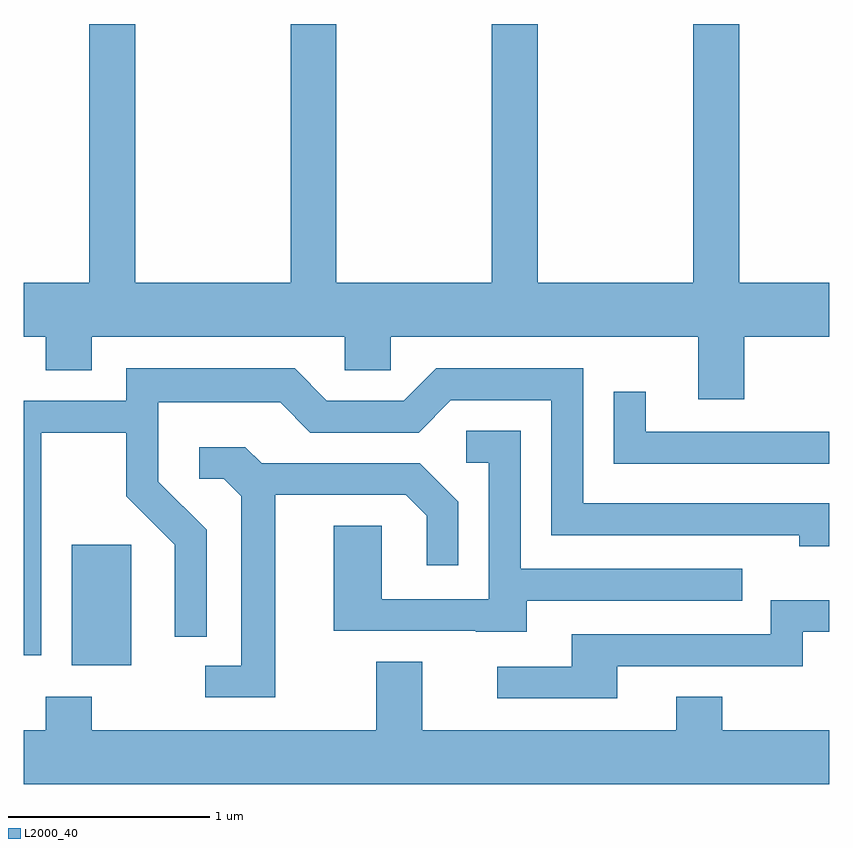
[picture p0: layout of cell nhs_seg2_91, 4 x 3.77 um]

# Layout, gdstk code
import gdstk
lib = gdstk.Library(unit=1e-6, precision=1e-09)
def R(c, l, rs):  # rectangles x0, y0, x1, y1
    for r in rs: c.add(gdstk.rectangle(r[:2], r[2:], *l))
def P(c, l, *ps):  # polygons
    for p in ps: c.add(gdstk.Polygon(p, *l))
L2000_40 = (2000, 40)

nhs_seg2_91 = lib.new_cell('nhs_seg2_91')
R(nhs_seg2_91, L2000_40, [(187.851,1024.486,188.144,1025.084)])
P(nhs_seg2_91, L2000_40, [(191.189,1026.116),(191.611,1026.116),(191.611,1026.384),(191.164,1026.384),(191.164,1027.669),(190.936,1027.669),(190.936,1026.384),(190.164,1026.384),(190.164,1027.669),(189.936,1027.669),(189.936,1026.384),(189.164,1026.384),(189.164,1027.669),(188.936,1027.669),(188.936,1026.384),(188.164,1026.384),(188.164,1027.669),(187.936,1027.669),(187.936,1026.384),(187.611,1026.384),(187.611,1026.116),(187.721,1026.116),(187.721,1025.951),(187.949,1025.951),(187.949,1026.116),(189.206,1026.116),(189.206,1025.951),(189.434,1025.951),(189.434,1026.116),(190.961,1026.116),(190.961,1025.806),(191.189,1025.806)],
  [(187.699,1025.641),(188.121,1025.641),(188.121,1025.324),(188.361,1025.084),(188.361,1024.628),(188.519,1024.628),(188.519,1025.157),(188.279,1025.397),(188.279,1025.791),(188.884,1025.791),(189.034,1025.641),(189.572,1025.641),(189.732,1025.801),(190.231,1025.801),(190.231,1025.131),(191.461,1025.131),(191.461,1025.076),(191.611,1025.076),(191.611,1025.289),(190.389,1025.289),(190.389,1025.959),(189.659,1025.959),(189.499,1025.799),(189.117,1025.799),(188.957,1025.959),(188.121,1025.959),(188.121,1025.799),(187.611,1025.799),(187.611,1024.536),(187.699,1024.536)],
  [(191.611,1025.644),(190.699,1025.644),(190.699,1025.843),(190.541,1025.843),(190.541,1025.486),(191.611,1025.486)],
  [(190.109,1024.806),(191.178,1024.806),(191.178,1024.964),(190.079,1024.964),(190.079,1025.649),(189.808,1025.649),(189.808,1025.491),(189.921,1025.491),(189.921,1024.814),(189.389,1024.814),(189.389,1025.179),(189.151,1025.179),(189.151,1024.656),(189.855,1024.656),(189.855,1024.651),(190.109,1024.651)],
  [(188.859,1025.331),(189.509,1025.331),(189.611,1025.228),(189.611,1024.983),(189.769,1024.983),(189.769,1025.296),(189.577,1025.489),(188.792,1025.489),(188.712,1025.569),(188.483,1025.569),(188.483,1025.411),(188.604,1025.411),(188.691,1025.324),(188.691,1024.484),(188.513,1024.484),(188.513,1024.326),(188.859,1024.326)],
  [(190.559,1024.481),(191.479,1024.481),(191.479,1024.651),(191.611,1024.651),(191.611,1024.809),(191.321,1024.809),(191.321,1024.639),(190.331,1024.639),(190.331,1024.479),(189.963,1024.479),(189.963,1024.321),(190.559,1024.321)],
  [(191.611,1024.164),(191.079,1024.164),(191.079,1024.329),(190.851,1024.329),(190.851,1024.164),(189.589,1024.164),(189.589,1024.504),(189.361,1024.504),(189.361,1024.164),(187.949,1024.164),(187.949,1024.329),(187.721,1024.329),(187.721,1024.164),(187.611,1024.164),(187.611,1023.896),(191.611,1023.896)])

lib.write_gds('nhs_seg2_91.gds')
